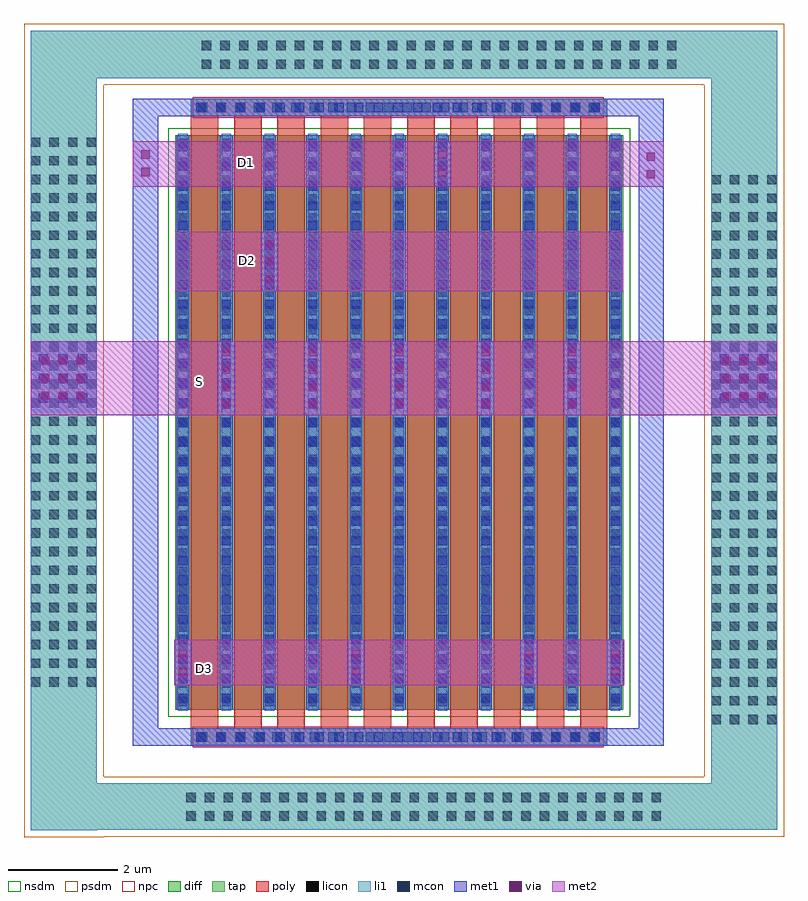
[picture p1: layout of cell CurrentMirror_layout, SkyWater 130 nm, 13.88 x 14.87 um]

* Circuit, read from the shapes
.subckt CurrentMirror_layout D1 D2 D3 S
XM1 S D1 D3 S sky130_fd_pr__nfet_01v8 w=10.5 l=0.5 m=6
XM2 D2 D1 S S sky130_fd_pr__nfet_01v8 w=10.5 l=0.5 m=2
XM3 D1 D1 S S sky130_fd_pr__nfet_01v8 w=10.5 l=0.5 m=2
.ends

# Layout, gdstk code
import gdstk
lib = gdstk.Library(unit=1e-6, precision=1e-09)
def R(c, l, rs):  # rectangles x0, y0, x1, y1
    for r in rs: c.add(gdstk.rectangle(r[:2], r[2:], *l))
def A(c, l, x, y, w, h, nx, ny, dx, dy):  # array of equal rectangles
    R(c, l, [(x+i*dx, y+j*dy, x+i*dx+w, y+j*dy+h) for i in range(nx) for j in range(ny)])
diff = (65, 20)
tap = (65, 44)
poly = (66, 20)
licon = (66, 44)
li1 = (67, 20)
mcon = (67, 44)
met1 = (68, 20)
via = (68, 44)
met2 = (69, 20)
nsdm = (93, 44)
psdm = (94, 20)
npc = (95, 20)

sky130_fd_pr__nfet_01v8_ = lib.new_cell('sky130_fd_pr__nfet_01v8_RC9KLY')
R(sky130_fd_pr__nfet_01v8_, diff, [(-0.54,-5.25,0.54,5.25)])
R(sky130_fd_pr__nfet_01v8_, poly, [(-0.25,-5.38,0.25,5.38)])
A(sky130_fd_pr__nfet_01v8_, licon, -0.48, -5.185, 0.17, 0.17, 1, 31, 0, 0.34)
A(sky130_fd_pr__nfet_01v8_, licon, 0.31, -5.185, 0.17, 0.17, 1, 31, 0, 0.34)
R(sky130_fd_pr__nfet_01v8_, li1, [(-0.48,-5.27,-0.31,5.27), (0.31,-5.27,0.48,5.27)])
A(sky130_fd_pr__nfet_01v8_, mcon, -0.48, -5.125, 0.17, 0.17, 1, 29, 0, 0.36)
A(sky130_fd_pr__nfet_01v8_, mcon, 0.31, -5.125, 0.17, 0.17, 1, 29, 0, 0.36)
R(sky130_fd_pr__nfet_01v8_, met1, [(-0.51,-5.25,-0.28,5.25), (0.28,-5.25,0.51,5.25)])
R(sky130_fd_pr__nfet_01v8_, nsdm, [(-0.665,-5.375,0.665,5.375)])

currentmirror_layout = lib.new_cell('CurrentMirror_layout')
R(currentmirror_layout, tap, [(-2.635,-2.075,-1.43,-2.065), (-2.635,-2.065,11,-1.215), (-2.635,-1.215,-1.43,11.67), (9.795,-1.215,11,11.67), (-2.635,11.67,11,12.54)])
A(currentmirror_layout, poly, 0.29, -0.21, 0.5, 0.21, 10, 2, 0.79, 10.97)
R(currentmirror_layout, poly, [(0.29,-0.53,7.9,-0.21), (0.29,10.97,7.9,11.29)])
A(currentmirror_layout, licon, 0.205, -1.895, 0.17, 0.17, 26, 2, 0.34, 0.34)
A(currentmirror_layout, licon, 0.42, -0.45, 0.17, 0.17, 22, 2, 0.34, 11.5)
A(currentmirror_layout, licon, 9.795, -0.13, 0.17, 0.17, 4, 30, 0.34, 0.34)
A(currentmirror_layout, licon, -2.635, 0.555, 0.17, 0.17, 4, 30, 0.34, 0.34)
A(currentmirror_layout, licon, 0.49, 11.84, 0.17, 0.17, 26, 2, 0.34, 0.34)
R(currentmirror_layout, li1, [(-2.635,-2.075,-1.43,-2.065), (-2.635,-2.065,11,-1.215), (-2.635,-1.215,-1.43,11.67), (9.795,-1.215,11,11.67), (0.29,-0.53,7.9,-0.21), (0.29,10.97,7.9,11.29), (-2.635,11.67,11,12.54)])
A(currentmirror_layout, mcon, 0.39, -0.45, 0.17, 0.17, 21, 2, 0.36, 11.5)
A(currentmirror_layout, mcon, 9.95, 5.735, 0.17, 0.17, 3, 3, 0.36, 0.36)
A(currentmirror_layout, mcon, -2.495, 5.74, 0.17, 0.17, 3, 3, 0.36, 0.36)
A(currentmirror_layout, met1, -0.015, 0.575, 0.32, 0.835, 3, 1, 3.16, 0)
A(currentmirror_layout, met1, 0.775, 5.51, 0.32, 1.355, 5, 1, 1.58, 0)
R(currentmirror_layout, met1, [(-0.77,-0.53,8.93,-0.21), (-0.77,-0.21,-0.31,10.97), (8.47,-0.21,8.93,10.97), (7.885,0.575,8.205,1.41), (-2.635,5.515,-1.43,6.865), (9.795,5.515,11,6.865), (1.565,7.8,1.885,8.85), (4.725,9.7,5.045,10.515), (-0.77,10.97,8.93,11.29)])
A(currentmirror_layout, via, 0.07, 0.755, 0.15, 0.15, 3, 2, 3.16, 0.32)
A(currentmirror_layout, via, 0.86, 5.63, 0.15, 0.15, 5, 4, 1.58, 0.32)
A(currentmirror_layout, via, 10, 5.785, 0.15, 0.15, 3, 3, 0.32, 0.32)
A(currentmirror_layout, via, -2.445, 5.79, 0.15, 0.15, 3, 3, 0.32, 0.32)
A(currentmirror_layout, via, 1.65, 7.93, 0.15, 0.15, 1, 3, 0, 0.32)
R(currentmirror_layout, via, [(7.97,0.755,8.12,0.905), (7.97,1.075,8.12,1.225), (8.615,9.84,8.765,9.99), (4.81,9.87,4.96,10.02), (-0.615,9.88,-0.465,10.03), (8.615,10.16,8.765,10.31), (4.81,10.19,4.96,10.34), (-0.615,10.2,-0.465,10.35)])
R(currentmirror_layout, met2, [(-0.015,0.58,8.205,1.41), (-2.635,5.515,11,6.865), (0,7.78,8.19,8.86), (-0.77,9.69,8.93,10.52)])
R(currentmirror_layout, psdm, [(-2.76,-2.2,-1.305,-2.19), (-2.76,-2.19,11.125,-1.09), (-2.76,-1.09,-1.305,11.545), (9.67,-1.09,11.125,11.545), (-2.76,11.545,11.125,12.665)])
R(currentmirror_layout, npc, [(0.32,-0.55,7.83,-0.18), (0.32,10.95,7.83,11.32)])
currentmirror_layout.add(gdstk.Reference(sky130_fd_pr__nfet_01v8_, (0.54,5.38)))
currentmirror_layout.add(gdstk.Reference(sky130_fd_pr__nfet_01v8_, (1.33,5.38)))
currentmirror_layout.add(gdstk.Reference(sky130_fd_pr__nfet_01v8_, (2.12,5.38)))
currentmirror_layout.add(gdstk.Reference(sky130_fd_pr__nfet_01v8_, (2.91,5.38)))
currentmirror_layout.add(gdstk.Reference(sky130_fd_pr__nfet_01v8_, (3.7,5.38)))
currentmirror_layout.add(gdstk.Reference(sky130_fd_pr__nfet_01v8_, (4.49,5.38)))
currentmirror_layout.add(gdstk.Reference(sky130_fd_pr__nfet_01v8_, (5.28,5.38)))
currentmirror_layout.add(gdstk.Reference(sky130_fd_pr__nfet_01v8_, (6.07,5.38)))
currentmirror_layout.add(gdstk.Reference(sky130_fd_pr__nfet_01v8_, (6.86,5.38)))
currentmirror_layout.add(gdstk.Reference(sky130_fd_pr__nfet_01v8_, (7.65,5.38)))
currentmirror_layout.add(gdstk.Label('D3', (0.54,0.885), layer=69, texttype=16))
currentmirror_layout.add(gdstk.Label('S', (0.44,6.13), layer=69, texttype=16))
currentmirror_layout.add(gdstk.Label('D1', (1.31,10.135), layer=69, texttype=16))
currentmirror_layout.add(gdstk.Label('D2', (1.33,8.335), layer=69, texttype=16))

lib.write_gds('CurrentMirror_layout.gds')
